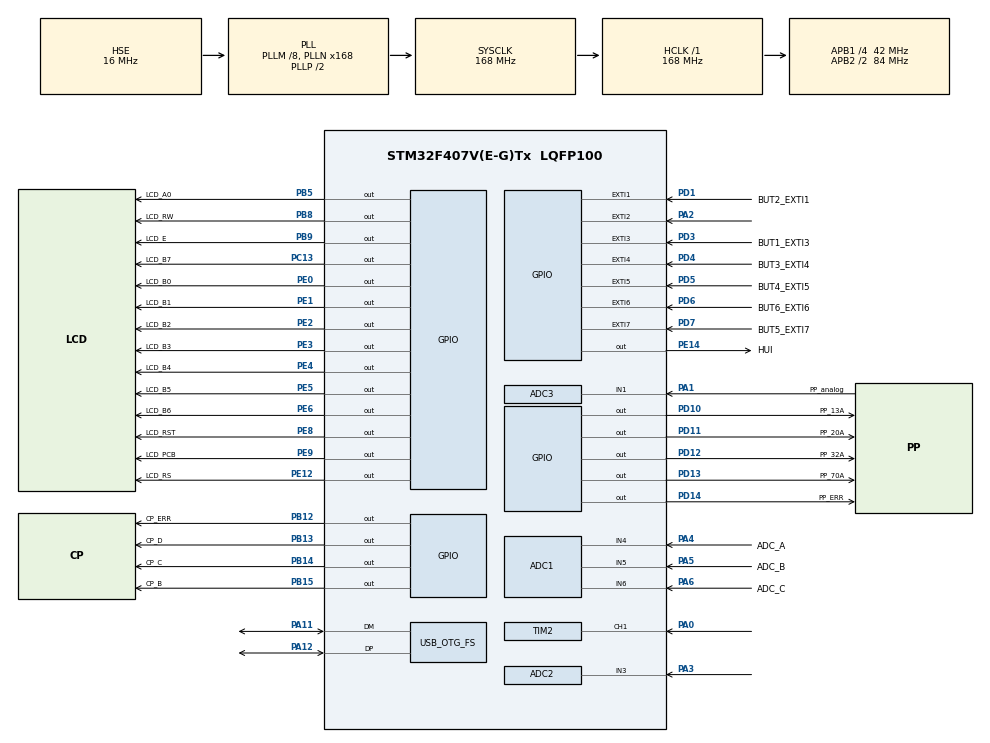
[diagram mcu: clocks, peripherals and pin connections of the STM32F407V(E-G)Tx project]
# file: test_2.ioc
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ADC1.Channel-0\#ChannelRegularConversion=ADC_CHANNEL_4
ADC1.NbrOfConversionFlag=1
ADC1.Rank-0\#ChannelRegularConversion=1
ADC1.SamplingTime-0\#ChannelRegularConversion=ADC_SAMPLETIME_3CYCLES
ADC1.master=1
ADC2.Channel-2\#ChannelRegularConversion=ADC_CHANNEL_3
ADC2.NbrOfConversionFlag=1
ADC2.Rank-2\#ChannelRegularConversion=1
ADC2.SamplingTime-2\#ChannelRegularConversion=ADC_SAMPLETIME_3CYCLES
ADC3.Channel-0\#ChannelRegularConversion=ADC_CHANNEL_1
ADC3.NbrOfConversionFlag=1
ADC3.Rank-0\#ChannelRegularConversion=1
ADC3.SamplingTime-0\#ChannelRegularConversion=ADC_SAMPLETIME_3CYCLES
Mcu.Family=STM32F4
Mcu.Name=STM32F407V(E-G)Tx
Mcu.Package=LQFP100
NVIC.ADC_IRQn=true\:0\:0\:false\:false\:true\:true\:true\:true
NVIC.EXTI1_IRQn=true\:0\:0\:false\:false\:true\:true\:true\:true
NVIC.EXTI2_IRQn=true\:0\:0\:false\:false\:true\:true\:true\:true
NVIC.EXTI3_IRQn=true\:0\:0\:false\:false\:true\:true\:true\:true
NVIC.EXTI4_IRQn=true\:0\:0\:false\:false\:true\:true\:true\:true
NVIC.EXTI9_5_IRQn=true\:0\:0\:false\:false\:true\:true\:true\:true
NVIC.FLASH_IRQn=true\:0\:0\:false\:false\:true\:true\:true\:true
NVIC.FPU_IRQn=true\:0\:0\:false\:false\:true\:true\:false\:true
NVIC.OTG_FS_IRQn=true\:0\:0\:false\:false\:true\:false\:true\:true
NVIC.PVD_IRQn=true\:0\:0\:false\:false\:true\:true\:true\:true
NVIC.PriorityGroup=NVIC_PRIORITYGROUP_4
NVIC.RCC_IRQn=true\:0\:0\:false\:false\:true\:true\:false\:true
NVIC.TIM2_IRQn=true\:0\:0\:false\:false\:true\:true\:true\:true
PA0-WKUP.Signal=S_TIM2_CH1_ETR
PA1.GPIO_Label=PP_analog
PA1.Signal=ADCx_IN1
PA11.Mode=Device_Only
PA11.Signal=USB_OTG_FS_DM
PA12.Mode=Device_Only
PA12.Signal=USB_OTG_FS_DP
PA13.Mode=Serial_Wire
PA13.Signal=SYS_JTMS-SWDIO
PA14.Mode=Serial_Wire
PA14.Signal=SYS_JTCK-SWCLK
PA2.GPIO_ModeDefaultEXTI=GPIO_MODE_IT_FALLING
PA2.GPIO_PuPd=GPIO_NOPULL
PA2.Signal=GPXTI2
PA3.Signal=ADCx_IN3
PA4.GPIO_Label=ADC_A
PA4.Signal=ADCx_IN4
PA5.GPIO_Label=ADC_B
PA5.Signal=ADCx_IN5
PA6.GPIO_Label=ADC_C
PA6.Signal=ADCx_IN6
PB12.GPIO_Label=CP_ERR
PB12.GPIO_ModeDefaultOutputPP=GPIO_MODE_OUTPUT_PP
PB12.GPIO_PuPd=GPIO_NOPULL
PB12.GPIO_Speed=GPIO_SPEED_FREQ_HIGH
PB12.PinState=GPIO_PIN_SET
PB12.Signal=GPIO_Output
PB13.GPIO_Label=CP_D
PB13.GPIO_ModeDefaultOutputPP=GPIO_MODE_OUTPUT_PP
PB13.GPIO_PuPd=GPIO_NOPULL
PB13.GPIO_Speed=GPIO_SPEED_FREQ_HIGH
PB13.PinState=GPIO_PIN_SET
PB13.Signal=GPIO_Output
PB14.GPIO_Label=CP_C
PB14.GPIO_ModeDefaultOutputPP=GPIO_MODE_OUTPUT_PP
PB14.GPIO_PuPd=GPIO_NOPULL
PB14.GPIO_Speed=GPIO_SPEED_FREQ_HIGH
PB14.PinState=GPIO_PIN_SET
PB14.Signal=GPIO_Output
PB15.GPIO_Label=CP_B
PB15.GPIO_ModeDefaultOutputPP=GPIO_MODE_OUTPUT_PP
PB15.GPIO_PuPd=GPIO_NOPULL
PB15.GPIO_Speed=GPIO_SPEED_FREQ_HIGH
PB15.PinState=GPIO_PIN_SET
PB15.Signal=GPIO_Output
PB5.GPIO_Label=LCD_A0
PB5.GPIO_ModeDefaultOutputPP=GPIO_MODE_OUTPUT_PP
PB5.GPIO_PuPd=GPIO_PULLDOWN
PB5.GPIO_Speed=GPIO_SPEED_FREQ_LOW
PB5.PinState=GPIO_PIN_RESET
PB5.Signal=GPIO_Output
PB8.GPIO_Label=LCD_RW
PB8.GPIO_ModeDefaultOutputPP=GPIO_MODE_OUTPUT_PP
PB8.GPIO_PuPd=GPIO_PULLDOWN
PB8.GPIO_Speed=GPIO_SPEED_FREQ_LOW
PB8.PinState=GPIO_PIN_RESET
PB8.Signal=GPIO_Output
PB9.GPIO_Label=LCD_E
PB9.GPIO_ModeDefaultOutputPP=GPIO_MODE_OUTPUT_PP
PB9.GPIO_PuPd=GPIO_PULLDOWN
PB9.GPIO_Speed=GPIO_SPEED_FREQ_LOW
PB9.PinState=GPIO_PIN_RESET
PB9.Signal=GPIO_Output
PC13-ANTI_TAMP.GPIO_Label=LCD_B7
PC13-ANTI_TAMP.GPIO_PuPd=GPIO_PULLDOWN
PC13-ANTI_TAMP.GPIO_Speed=GPIO_SPEED_FREQ_LOW
PC13-ANTI_TAMP.Signal=GPIO_Output
PD1.GPIO_Label=BUT2_EXTI1
PD1.GPIO_ModeDefaultEXTI=GPIO_MODE_IT_FALLING
PD1.GPIO_PuPd=GPIO_PULLUP
PD1.Signal=GPXTI1
PD10.GPIO_Label=PP_13A
PD10.GPIO_ModeDefaultOutputPP=GPIO_MODE_OUTPUT_OD
PD10.GPIO_PuPd=GPIO_NOPULL
PD10.GPIO_Speed=GPIO_SPEED_FREQ_HIGH
PD10.PinState=GPIO_PIN_SET
PD10.Signal=GPIO_Output
PD11.GPIO_Label=PP_20A
PD11.GPIO_ModeDefaultOutputPP=GPIO_MODE_OUTPUT_OD
PD11.GPIO_PuPd=GPIO_NOPULL
PD11.GPIO_Speed=GPIO_SPEED_FREQ_HIGH
PD11.PinState=GPIO_PIN_SET
PD11.Signal=GPIO_Output
PD12.GPIO_Label=PP_32A
PD12.GPIO_ModeDefaultOutputPP=GPIO_MODE_OUTPUT_OD
PD12.GPIO_PuPd=GPIO_NOPULL
PD12.GPIO_Speed=GPIO_SPEED_FREQ_HIGH
PD12.PinState=GPIO_PIN_SET
PD12.Signal=GPIO_Output
PD13.GPIO_Label=PP_70A
PD13.GPIO_ModeDefaultOutputPP=GPIO_MODE_OUTPUT_OD
PD13.GPIO_PuPd=GPIO_NOPULL
PD13.GPIO_Speed=GPIO_SPEED_FREQ_HIGH
PD13.PinState=GPIO_PIN_SET
PD13.Signal=GPIO_Output
PD14.GPIO_Label=PP_ERR
PD14.GPIO_ModeDefaultOutputPP=GPIO_MODE_OUTPUT_OD
PD14.GPIO_PuPd=GPIO_NOPULL
PD14.GPIO_Speed=GPIO_SPEED_FREQ_HIGH
PD14.PinState=GPIO_PIN_SET
PD14.Signal=GPIO_Output
PD3.GPIO_Label=BUT1_EXTI3
PD3.GPIO_ModeDefaultEXTI=GPIO_MODE_IT_FALLING
PD3.GPIO_PuPd=GPIO_PULLUP
PD3.Signal=GPXTI3
PD4.GPIO_Label=BUT3_EXTI4
PD4.GPIO_ModeDefaultEXTI=GPIO_MODE_IT_FALLING
PD4.GPIO_PuPd=GPIO_PULLUP
PD4.Signal=GPXTI4
PD5.GPIO_Label=BUT4_EXTI5
PD5.GPIO_ModeDefaultEXTI=GPIO_MODE_IT_FALLING
PD5.GPIO_PuPd=GPIO_PULLUP
PD5.Signal=GPXTI5
PD6.GPIO_Label=BUT6_EXTI6
PD6.GPIO_ModeDefaultEXTI=GPIO_MODE_IT_FALLING
PD6.GPIO_PuPd=GPIO_PULLUP
PD6.Signal=GPXTI6
PD7.GPIO_Label=BUT5_EXTI7
PD7.GPIO_ModeDefaultEXTI=GPIO_MODE_IT_FALLING
PD7.GPIO_PuPd=GPIO_PULLUP
PD7.Signal=GPXTI7
PE0.GPIO_Label=LCD_B0
PE0.GPIO_ModeDefaultOutputPP=GPIO_MODE_OUTPUT_PP
PE0.GPIO_PuPd=GPIO_PULLDOWN
PE0.GPIO_Speed=GPIO_SPEED_FREQ_LOW
PE0.PinState=GPIO_PIN_RESET
PE0.Signal=GPIO_Output
PE1.GPIO_Label=LCD_B1
PE1.GPIO_ModeDefaultOutputPP=GPIO_MODE_OUTPUT_PP
PE1.GPIO_PuPd=GPIO_PULLDOWN
PE1.GPIO_Speed=GPIO_SPEED_FREQ_LOW
PE1.PinState=GPIO_PIN_RESET
PE1.Signal=GPIO_Output
PE12.GPIO_Label=LCD_RS
PE12.GPIO_ModeDefaultOutputPP=GPIO_MODE_OUTPUT_PP
PE12.GPIO_PuPd=GPIO_PULLDOWN
PE12.GPIO_Speed=GPIO_SPEED_FREQ_LOW
PE12.PinState=GPIO_PIN_RESET
PE12.Signal=GPIO_Output
PE14.GPIO_Label=HUI
PE14.GPIO_ModeDefaultOutputPP=GPIO_MODE_OUTPUT_PP
PE14.GPIO_PuPd=GPIO_PULLUP
PE14.GPIO_Speed=GPIO_SPEED_FREQ_MEDIUM
PE14.PinState=GPIO_PIN_RESET
PE14.Signal=GPIO_Output
PE2.GPIO_Label=LCD_B2
PE2.GPIO_ModeDefaultOutputPP=GPIO_MODE_OUTPUT_PP
PE2.GPIO_PuPd=GPIO_PULLDOWN
PE2.GPIO_Speed=GPIO_SPEED_FREQ_LOW
PE2.PinState=GPIO_PIN_RESET
PE2.Signal=GPIO_Output
PE3.GPIO_Label=LCD_B3
PE3.GPIO_ModeDefaultOutputPP=GPIO_MODE_OUTPUT_PP
PE3.GPIO_PuPd=GPIO_PULLDOWN
PE3.GPIO_Speed=GPIO_SPEED_FREQ_LOW
PE3.PinState=GPIO_PIN_RESET
PE3.Signal=GPIO_Output
PE4.GPIO_Label=LCD_B4
PE4.GPIO_ModeDefaultOutputPP=GPIO_MODE_OUTPUT_PP
PE4.GPIO_PuPd=GPIO_PULLDOWN
PE4.GPIO_Speed=GPIO_SPEED_FREQ_LOW
PE4.PinState=GPIO_PIN_RESET
PE4.Signal=GPIO_Output
PE5.GPIO_Label=LCD_B5
PE5.GPIO_ModeDefaultOutputPP=GPIO_MODE_OUTPUT_PP
PE5.GPIO_PuPd=GPIO_PULLDOWN
PE5.GPIO_Speed=GPIO_SPEED_FREQ_LOW
PE5.PinState=GPIO_PIN_RESET
PE5.Signal=GPIO_Output
PE6.GPIO_Label=LCD_B6
PE6.GPIO_ModeDefaultOutputPP=GPIO_MODE_OUTPUT_PP
PE6.GPIO_PuPd=GPIO_PULLDOWN
PE6.GPIO_Speed=GPIO_SPEED_FREQ_LOW
PE6.PinState=GPIO_PIN_RESET
PE6.Signal=GPIO_Output
PE8.GPIO_Label=LCD_RST
PE8.GPIO_ModeDefaultOutputPP=GPIO_MODE_OUTPUT_PP
PE8.GPIO_PuPd=GPIO_PULLDOWN
PE8.GPIO_Speed=GPIO_SPEED_FREQ_LOW
PE8.PinState=GPIO_PIN_RESET
PE8.Signal=GPIO_Output
PE9.GPIO_Label=LCD_PCB
PE9.GPIO_ModeDefaultOutputPP=GPIO_MODE_OUTPUT_PP
PE9.GPIO_PuPd=GPIO_PULLDOWN
PE9.GPIO_Speed=GPIO_SPEED_FREQ_LOW
PE9.PinState=GPIO_PIN_RESET
PE9.Signal=GPIO_Output
PH0-OSC_IN.Mode=HSE-External-Oscillator
PH0-OSC_IN.Signal=RCC_OSC_IN
PH1-OSC_OUT.Mode=HSE-External-Oscillator
PH1-OSC_OUT.Signal=RCC_OSC_OUT
ProjectManager.HeapSize=0x200
ProjectManager.StackSize=0x400
ProjectManager.TargetToolchain=STM32CubeIDE
RCC.48MHZClocksFreq_Value=48000000
RCC.AHBFreq_Value=168000000
RCC.APB1CLKDivider=RCC_HCLK_DIV4
RCC.APB1Freq_Value=42000000
RCC.APB1TimFreq_Value=84000000
RCC.APB2CLKDivider=RCC_HCLK_DIV2
RCC.APB2Freq_Value=84000000
RCC.APB2TimFreq_Value=168000000
RCC.CortexFreq_Value=168000000
RCC.HCLKFreq_Value=168000000
RCC.HSE_VALUE=16000000
RCC.HSI_VALUE=16000000
RCC.LSE_VALUE=32768
RCC.PLLM=8
RCC.PLLN=168
RCC.PLLQ=7
RCC.SYSCLKFreq_VALUE=168000000
RCC.SYSCLKSource=RCC_SYSCLKSOURCE_PLLCLK
RCC.VCOOutputFreq_Value=336000000
SH.ADCx_IN1.0=ADC3_IN1,IN1
SH.ADCx_IN3.0=ADC2_IN3,IN3
SH.ADCx_IN4.0=ADC1_IN4,IN4
SH.ADCx_IN5.0=ADC1_IN5,IN5
SH.ADCx_IN6.0=ADC1_IN6,IN6
SH.S_TIM2_CH1_ETR.0=TIM2_CH1,PWM_Input_1
USB_DEVICE.CLASS_NAME_FS=CDC
USB_DEVICE.VirtualMode-CDC_FS=Cdc
USB_DEVICE.VirtualModeFS=Cdc_FS
USB_OTG_FS.VirtualMode=Device_Only
VP_TIM2_VS_ClockSourceINT.Mode=Internal
VP_USB_DEVICE_VS_USB_DEVICE_CDC_FS.Mode=CDC_FS
board=custom

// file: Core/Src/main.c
/* USER CODE BEGIN Header */
/**
  ******************************************************************************
  * @file           : main.c
  * @brief          : Main program body
  ******************************************************************************
  * @attention
  *
  * Copyright (c) 2022 STMicroelectronics.
  * All rights reserved.
  *
  * This software is licensed under terms that can be found in the LICENSE file
  * in the root directory of this software component.
  * If no LICENSE file comes with this software, it is provided AS-IS.
  *
  ******************************************************************************
  */
/* USER CODE END Header */
#include "main.h"
#include "usb_device.h"

/* USER CODE BEGIN Includes */
#include "lcd.h"
//#include "math.h"
/* USER CODE END Includes */

ADC_HandleTypeDef hadc1;
ADC_HandleTypeDef hadc2;
ADC_HandleTypeDef hadc3;

TIM_HandleTypeDef htim2;

void SystemClock_Config(void);
static void MX_GPIO_Init(void);
static void MX_ADC1_Init(void);
static void MX_TIM2_Init(void);
static void MX_ADC3_Init(void);
static void MX_ADC2_Init(void);

/* USER CODE BEGIN 0 */

void set_status_A(void)
{
	HAL_GPIO_WritePin(GPIOB, GPIO_PIN_12, GPIO_PIN_RESET);
	HAL_GPIO_WritePin(GPIOB, GPIO_PIN_13, GPIO_PIN_RESET);
	HAL_GPIO_WritePin(GPIOB, GPIO_PIN_14, GPIO_PIN_RESET);
	HAL_GPIO_WritePin(GPIOB, GPIO_PIN_15, GPIO_PIN_RESET);
}
void set_status_B(void)
{
	HAL_GPIO_WritePin(GPIOB, GPIO_PIN_12, GPIO_PIN_RESET);
	HAL_GPIO_WritePin(GPIOB, GPIO_PIN_13, GPIO_PIN_RESET);
	HAL_GPIO_WritePin(GPIOB, GPIO_PIN_14, GPIO_PIN_RESET);
	HAL_GPIO_WritePin(GPIOB, GPIO_PIN_15, GPIO_PIN_SET);
}
void set_status_C(void)
{
	HAL_GPIO_WritePin(GPIOB, GPIO_PIN_12, GPIO_PIN_RESET);
	HAL_GPIO_WritePin(GPIOB, GPIO_PIN_13, GPIO_PIN_RESET);
	HAL_GPIO_WritePin(GPIOB, GPIO_PIN_14, GPIO_PIN_SET);
	HAL_GPIO_WritePin(GPIOB, GPIO_PIN_15, GPIO_PIN_RESET);
}
void set_status_D(void)
{
	HAL_GPIO_WritePin(GPIOB, GPIO_PIN_12, GPIO_PIN_RESET);
	HAL_GPIO_WritePin(GPIOB, GPIO_PIN_13, GPIO_PIN_SET);
	HAL_GPIO_WritePin(GPIOB, GPIO_PIN_14, GPIO_PIN_RESET);
	HAL_GPIO_WritePin(GPIOB, GPIO_PIN_15, GPIO_PIN_RESET);
}
void set_status_E(void)
{
	HAL_GPIO_WritePin(GPIOB, GPIO_PIN_12, GPIO_PIN_SET);
	HAL_GPIO_WritePin(GPIOB, GPIO_PIN_13, GPIO_PIN_RESET);
	HAL_GPIO_WritePin(GPIOB, GPIO_PIN_14, GPIO_PIN_RESET);
	HAL_GPIO_WritePin(GPIOB, GPIO_PIN_15, GPIO_PIN_RESET);
}

uint8_t str_tx[100];
void hello_world(void)
{
	  set_status_A();
	  lcd_initialization();
	  HAL_Delay(200);

	  lcd_set_cursor(0, 0);
	  sprintf(str_tx, "������ �����������");
	  lcd_draw_text(str_tx);
	  lcd_set_cursor(0, 1);
	  sprintf(str_tx, "��� ���������");
	  lcd_draw_text(str_tx);
	  lcd_set_cursor(0, 2);
	  sprintf(str_tx, "����� ����������");
	  lcd_draw_text(str_tx);
	  lcd_set_cursor(0, 3);
	  sprintf(str_tx, "����������");
	  lcd_draw_text(str_tx);
	  HAL_Delay(1000);
}

uint32_t PP_adc;
float PP_value;
uint32_t cable_current;
void read_PP(void)
{
		HAL_ADC_Start(&hadc3);
		HAL_ADC_PollForConversion(&hadc3,100);
		PP_adc = (uint32_t) HAL_ADC_GetValue(&hadc3);
		HAL_ADC_Stop(&hadc3);
		PP_value = (float)PP_adc*3.3/4096.0;
		/*
		 * 50 - 150 om = 70A
		 * 150 - 330 om = 32A
		 * 330 - 1000 om = 20A
		 * 1000 - 2700 om = 13A
		 */

		if(     PP_value > 0.07 && PP_value < 0.21){
			cable_current = 70;}
		else if(PP_value > 0.21 && PP_value < 0.43){
			cable_current = 32;}
		else if(PP_value > 0.43 && PP_value < 1.0){
			cable_current = 20;}
		else if(PP_value > 1.0 && PP_value < 1.81){
			cable_current = 13;}
		else if(PP_value <= 0.07 || PP_value >= 1.81){
			cable_current = 0;}
}

const uint32_t CP_adc_arr = 500;
uint32_t CP_adc[500];
float CP_val_MAX = 0;

void read_CP(void)
{
 	 HAL_ADC_ConfigChannel(&hadc2, ADC_CHANNEL_3);
 	 for(uint32_t i = 0; i < CP_adc_arr; i++)
 	 {
		HAL_ADC_Start(&hadc2);
		HAL_ADC_PollForConversion(&hadc2,100);
		CP_adc[i] = (uint32_t) HAL_ADC_GetValue(&hadc2);
		HAL_ADC_Stop(&hadc2);
 	 }
 	 HAL_ADC_ConfigChannel(&hadc1, ADC_CHANNEL_4);
 	 CP_val_MAX = 0;
 	 for(uint32_t i = 0; i < CP_adc_arr; i++)
 	 {
 		 if(CP_adc[i] > CP_val_MAX)
 		 {
 			CP_val_MAX = (float)CP_adc[i];
 		 }
 	 }
 	CP_val_MAX = CP_val_MAX*0.004914 + 0.15;
}

const uint32_t adc_arr = 2000;
uint32_t adc_a[2000];
uint32_t adc_b[2000];
uint32_t adc_c[2000];
uint32_t adc_max_a;
uint32_t adc_max_b;
uint32_t adc_max_c;
float adc_result_a;
float adc_result_b;
float adc_result_c;

void read_phase_A(void)
{
	HAL_TIM_IC_Stop_IT(&htim2, TIM_CHANNEL_1);   // main channel
	HAL_TIM_IC_Stop(&htim2, TIM_CHANNEL_2);

	ADC_ChannelConfTypeDef sConfig = {0};
	sConfig.Channel = ADC_CHANNEL_4;
	sConfig.Rank = 1;
	sConfig.SamplingTime = ADC_SAMPLETIME_3CYCLES;
	if (HAL_ADC_ConfigChannel(&hadc1, &sConfig) != HAL_OK)
	{
	Error_Handler();
	}

	HAL_ADC_ConfigChannel(&hadc1, ADC_CHANNEL_4);
	for(uint32_t i = 0; i < adc_arr; i++)
	{
		HAL_ADC_Start(&hadc1);
		HAL_ADC_PollForConversion(&hadc1,100);
		adc_a[i] = (uint32_t) HAL_ADC_GetValue(&hadc1);
		HAL_ADC_Stop(&hadc1);
	}
	adc_max_a = 0;
	for(uint32_t i = 0; i < adc_arr; i++)
	{
		 if(adc_max_a < adc_a[i])
		 {
			 adc_max_a = adc_a[i];
		 }
	}
	adc_result_a = ((float)adc_max_a*3.3/4096.0-1.22662)*1358.88/sqrt(2);
	if(adc_result_a < 12.0)
	{
		adc_result_a = 0.0;
	}
	HAL_TIM_IC_Start_IT(&htim2, TIM_CHANNEL_1);   // main channel
	HAL_TIM_IC_Start(&htim2, TIM_CHANNEL_2);
}

void read_phase_B(void)
{

	HAL_TIM_IC_Stop_IT(&htim2, TIM_CHANNEL_1);   // main channel
	HAL_TIM_IC_Stop(&htim2, TIM_CHANNEL_2);

	ADC_ChannelConfTypeDef sConfig = {0};
	sConfig.Channel = ADC_CHANNEL_5;
	sConfig.Rank = 1;
	sConfig.SamplingTime = ADC_SAMPLETIME_3CYCLES;
	if (HAL_ADC_ConfigChannel(&hadc1, &sConfig) != HAL_OK)
	{
	Error_Handler();
	}

	//HAL_ADC_ConfigChannel(&hadc1, ADC_CHANNEL_5);
	for(uint32_t i = 0; i < adc_arr; i++)
	{
		HAL_ADC_Start(&hadc1);
		HAL_ADC_PollForConversion(&hadc1,100);
		adc_b[i] = (uint32_t) HAL_ADC_GetValue(&hadc1);
		HAL_ADC_Stop(&hadc1);
	}
	adc_max_b = 0;
	for(uint32_t i = 0; i < adc_arr; i++)
	{
		 if((float)adc_b[i] > adc_max_b)
		 {
			 adc_max_b = adc_b[i];
		 }
	}
	adc_result_b = ((float)adc_max_b*3.3/4096.0-1.22662)*1358.88/sqrt(2);
	if(adc_result_b < 12.0)
	{
		adc_result_b = 0.0;
	}
	HAL_TIM_IC_Start_IT(&htim2, TIM_CHANNEL_1);   // main channel
	HAL_TIM_IC_Start(&htim2, TIM_CHANNEL_2);
}

void read_phase_C(void)
{
	HAL_TIM_IC_Stop_IT(&htim2, TIM_CHANNEL_1);   // main channel
	HAL_TIM_IC_Stop(&htim2, TIM_CHANNEL_2);

	ADC_ChannelConfTypeDef sConfig = {0};
	sConfig.Channel = ADC_CHANNEL_6;
	sConfig.Rank = 1;
	sConfig.SamplingTime = ADC_SAMPLETIME_3CYCLES;
	if (HAL_ADC_ConfigChannel(&hadc1, &sConfig) != HAL_OK)
	{
	Error_Handler();
	}

	//HAL_ADC_ConfigChannel(&hadc1, ADC_CHANNEL_6);
	for(uint32_t i = 0; i < adc_arr; i++)
	{
		HAL_ADC_Start(&hadc1);
		HAL_ADC_PollForConversion(&hadc1,100);
		adc_c[i] = (uint32_t) HAL_ADC_GetValue(&hadc1);
		HAL_ADC_Stop(&hadc1);
	}
	adc_max_c = 0;
	for(uint32_t i = 0; i < adc_arr; i++)
	{
		 if((float)adc_c[i] > adc_max_c)
		 {
			 adc_max_c = adc_c[i];
		 }
	}
	adc_result_c = ((float)adc_max_c*3.3/4096.0-1.22662)*1358.88/sqrt(2);
	if(adc_result_c < 12.0)
	{
		adc_result_c = 0.0;
	}
	HAL_TIM_IC_Start_IT(&htim2, TIM_CHANNEL_1);   // main channel
	HAL_TIM_IC_Start(&htim2, TIM_CHANNEL_2);
}

uint32_t ICValue;
float Duty;
float Frequency;
uint32_t CP_Voltage = 0;

void HAL_TIM_IC_CaptureCallback(TIM_HandleTypeDef *htim)
{
	if (htim->Channel == HAL_TIM_ACTIVE_CHANNEL_1)  // If the interrupt is triggered by channel 1
	{
		// Read the IC value
		ICValue = HAL_TIM_ReadCapturedValue(htim, TIM_CHANNEL_1);

		if (ICValue != 0)
		{
			// calculate the Duty Cycle
			Duty = 100.0 - ((float)HAL_TIM_ReadCapturedValue(htim, TIM_CHANNEL_2) *100.0)/(float)ICValue;
			Frequency = 84000000.0/(float)ICValue;
		}
	}
}

uint8_t menu = 0;
uint8_t menu_hor = 0;
uint8_t menu_ver = 0;
char status = 'A';

void HAL_GPIO_EXTI_Callback(uint16_t GPIO_Pin)
{
   if(GPIO_Pin == GPIO_PIN_2)
   {

   }
//	gpio_1		gpio_7
//        gpio_4
//  gpio_3		gpio_6
//   	  gpio_5
//
   //__BUTTONS_____________________________________________
   if(GPIO_Pin == GPIO_PIN_1)
   {
//	   set_status_A();
//	   menu = 1;
//	   Frequency = 0;
//	   Duty = 0;
   }
   if(GPIO_Pin == GPIO_PIN_3)
   {
	  switch (menu_hor) {
		case 0:
			menu_hor = 1;
			break;
		case 1:
			menu_hor = 2;
			break;
		case 2:
			menu_hor = 0;
			break;
		default:
			break;
	  }
   }

   if(GPIO_Pin == GPIO_PIN_6)
   {
	  switch (menu_hor) {
		case 0:
			menu_hor = 2;
			break;
		case 1:
			menu_hor = 0;
			break;
		case 2:
			menu_hor = 1;
			break;
		default:
			break;
	  }
   }

   if(GPIO_Pin == GPIO_PIN_5)
   {
	  switch (menu_ver) {
		case 0:
			menu_ver = 1;
			break;
		case 1:
			menu_ver = 2;
			break;
		case 2:
			menu_ver = 3;
			break;
		case 3:
			menu_ver = 4;
			break;
		case 4:
			menu_ver = 0;
			break;
		default:
			break;
	  }
   }

   if(GPIO_Pin == GPIO_PIN_4)
   {
	  switch (menu_ver) {
		case 0:
			menu_ver = 4;
			break;
		case 1:
			menu_ver = 0;
			break;
		case 2:
			menu_ver = 1;
			break;
		case 3:
			menu_ver = 2;
			break;
		case 4:
			menu_ver = 3;
			break;
		default:
			break;
	  }
   }
   switch (menu_ver) {
  		case 0:
  			status = 'A';
  			set_status_A();
  			break;
  		case 1:
  			status = 'B';
  			set_status_B();
  			break;
  		case 2:
  			status = 'C';
  			set_status_C();
  			break;
  		case 3:
  			status = 'D';
  			set_status_D();
  			break;
  		case 4:
  			status = 'E';
  			set_status_E();
  			break;
  		default:
  			break;
  	  }
   if(GPIO_Pin == GPIO_PIN_7)
   {
//	   HAL_TIM_IC_Stop_IT(&htim2, TIM_CHANNEL_1);   // main channel
//	   HAL_TIM_IC_Stop(&htim2, TIM_CHANNEL_2);
//	   menu = 7;
   }

   //______________________________________________________
}

uint32_t station_current;
void duty_read()
{
	if(     Duty < 3)
		station_current = 0;
	else if(Duty >=3 && Duty < 7)
		station_current = 999;
	else if(Duty >=7 && Duty < 8)
		station_current = 0;
	else if(Duty >=8 && Duty < 10)
		station_current = 6;
	else if(Duty >=10 && Duty < 85)
		station_current = Duty * 0.6;
	else if(Duty >=85 && Duty < 96)
		station_current = (Duty-64)*2.5;
	else if(Duty >=96 && Duty < 97)
		station_current = 80;
	else if(Duty >=97 && Duty < 100)
		station_current = 0;
}

void lcd_print_info()
{
	if(menu_hor == 0)
	{
		Frequency = 0;
		Duty = 0;
		read_PP();
		read_CP();
		read_phase_A();
		read_phase_B();
		read_phase_C();
		duty_read();
		lcd_clear_display();
		lcd_set_cursor(0, 0);
		sprintf(str_tx, "������ = %c ", status);
		lcd_draw_text(str_tx);
		lcd_set_cursor(0, 1);
		if(cable_current != 0)
			sprintf(str_tx, "���.���. = %u �   ", cable_current);
		else
			sprintf(str_tx, "���.���. = ������", cable_current);
		lcd_draw_text(str_tx);
		lcd_set_cursor(0, 2);
		if(station_current == 0 && cable_current == 0)
			sprintf(str_tx, "������ �������     ", Duty);
		else if(station_current == 999)
			sprintf(str_tx, "��. �����. ���.!   ");
		else
			sprintf(str_tx, "���.��. = %u �", station_current);
		lcd_draw_text(str_tx);
		lcd_set_cursor(0, 3);
		if((adc_result_a > adc_result_b - 44) && (adc_result_a < adc_result_b + 44) && (adc_result_a > adc_result_c - 44) && (adc_result_a < adc_result_c + 44) && (adc_result_b > adc_result_c - 44) && (adc_result_b < adc_result_c + 44))
			sprintf(str_tx, "����. ��� = ��    ");
		else
			sprintf(str_tx, "����. ��� = ������");
		lcd_draw_text(str_tx);
	}

	if(menu_hor == 1)
	{
		 Frequency = 0;
		 Duty = 0;
		 read_CP();
	  	 lcd_clear_display();
		 lcd_set_cursor(0, 0);
		 sprintf(str_tx, "������ = %c ", status);
		 lcd_draw_text(str_tx);
		 lcd_set_cursor(0, 1);
		 sprintf(str_tx, "��. = %.2f ��  ", Frequency);
		 lcd_draw_text(str_tx);
		 lcd_set_cursor(0, 2);
		 sprintf(str_tx, "��. = %.2f ����.   ", Duty);
		 lcd_draw_text(str_tx);
		 lcd_set_cursor(0, 3);
		 sprintf(str_tx, "��. = %.2f �   ", CP_val_MAX);
		 lcd_draw_text(str_tx);
	}
	if(menu_hor == 2)
	{
		 read_phase_A();
		 read_phase_B();
		 read_phase_C();
		 HAL_Delay(100);
	  	 lcd_clear_display();
		 lcd_set_cursor(0, 0);
		 sprintf(str_tx, "������ = %c", status);
		 lcd_draw_text(str_tx);
		 lcd_set_cursor(0, 1);
		 //*(3.3/4096.0-1.22662)*1358.88
		 sprintf(str_tx, "���� A = %.1f �   ", adc_result_a);
		 lcd_draw_text(str_tx);
		 lcd_set_cursor(0, 2);
		 sprintf(str_tx, "���� B = %.1f �   ", adc_result_b);
		 lcd_draw_text(str_tx);
		 lcd_set_cursor(0, 3);
		 sprintf(str_tx, "���� C = %.1f �   ", adc_result_c);
		 lcd_draw_text(str_tx);
	}
}

/* USER CODE END 0 */

int main(void)
{

  /* MCU Configuration--------------------------------------------------------*/

  /* Reset of all peripherals, Initializes the Flash interface and the Systick. */
  HAL_Init();

  /* Configure the system clock */
  SystemClock_Config();

  /* Initialize all configured peripherals */
  MX_GPIO_Init();
  MX_ADC1_Init();
  MX_TIM2_Init();
  MX_USB_DEVICE_Init();
  MX_ADC3_Init();
  MX_ADC2_Init();
  /* USER CODE BEGIN 2 */

  HAL_TIM_IC_Start_IT(&htim2, TIM_CHANNEL_1);   // main channel
  HAL_TIM_IC_Start(&htim2, TIM_CHANNEL_2);

  //инициализация экрана

//  uint32_t pretick = 0;
//  uint32_t posttick = 0;
  hello_world();

  /* USER CODE END 2 */

  /* Infinite loop */
  /* USER CODE BEGIN WHILE */
  while (1)
  {
	  lcd_print_info();
	  HAL_Delay(200);
//	  uint32_t ICValue;
//	  float Duty;
//	  float Frequency;

//		 lcd_draw_text(str_tx);
	    sprintf(str_tx, "_____________START____________________ \r\n");
	    CDC_Transmit_FS((unsigned char*)str_tx, strlen(str_tx));

		for(uint16_t i = 0; i < adc_arr; i++)
		{
			sprintf(str_tx, "%.1f \t %.1f \t %.1f  \r\n", ((float)adc_a[i]*3.3/4096.0-1.22662)*1358.88, ((float)adc_b[i]*3.3/4096.0-1.22662)*1358.88, ((float)adc_c[i]*3.3/4096.0-1.22662)*1358.88);
			CDC_Transmit_FS((unsigned char*)str_tx, strlen(str_tx));
		}
		sprintf(str_tx, " \r\n");
		CDC_Transmit_FS((unsigned char*)str_tx, strlen(str_tx));

//		sprintf(str_tx, "%.1f \r\n", ((float)adc_max_a*3.3/4096.0-1.22662)*1358.88);
//		CDC_Transmit_FS((unsigned char*)str_tx, strlen(str_tx));
//		sprintf(str_tx, "_____________STOP______________________\r\n\r\n");
//		CDC_Transmit_FS((unsigned char*)str_tx, strlen(str_tx));
//		HAL_Delay(100);
    /* USER CODE END WHILE */

    /* USER CODE BEGIN 3 */
//	  HAL_GPIO_TogglePin(GPIOB, GPIO_PIN_12);
//	  HAL_Delay(2000);
  }
  /* USER CODE END 3 */
}

void SystemClock_Config(void)
{
  RCC_OscInitTypeDef RCC_OscInitStruct = {0};
  RCC_ClkInitTypeDef RCC_ClkInitStruct = {0};

  /** Configure the main internal regulator output voltage
  */
  __HAL_RCC_PWR_CLK_ENABLE();
  __HAL_PWR_VOLTAGESCALING_CONFIG(PWR_REGULATOR_VOLTAGE_SCALE1);

  /** Initializes the RCC Oscillators according to the specified parameters
  * in the RCC_OscInitTypeDef structure.
  */
  RCC_OscInitStruct.OscillatorType = RCC_OSCILLATORTYPE_HSE;
  RCC_OscInitStruct.HSEState = RCC_HSE_ON;
  RCC_OscInitStruct.PLL.PLLState = RCC_PLL_ON;
  RCC_OscInitStruct.PLL.PLLSource = RCC_PLLSOURCE_HSE;
  RCC_OscInitStruct.PLL.PLLM = 8;
  RCC_OscInitStruct.PLL.PLLN = 168;
  RCC_OscInitStruct.PLL.PLLP = RCC_PLLP_DIV2;
  RCC_OscInitStruct.PLL.PLLQ = 7;
  if (HAL_RCC_OscConfig(&RCC_OscInitStruct) != HAL_OK)
  {
    Error_Handler();
  }

  /** Initializes the CPU, AHB and APB buses clocks
  */
  RCC_ClkInitStruct.ClockType = RCC_CLOCKTYPE_HCLK|RCC_CLOCKTYPE_SYSCLK
                              |RCC_CLOCKTYPE_PCLK1|RCC_CLOCKTYPE_PCLK2;
  RCC_ClkInitStruct.SYSCLKSource = RCC_SYSCLKSOURCE_PLLCLK;
  RCC_ClkInitStruct.AHBCLKDivider = RCC_SYSCLK_DIV1;
  RCC_ClkInitStruct.APB1CLKDivider = RCC_HCLK_DIV4;
  RCC_ClkInitStruct.APB2CLKDivider = RCC_HCLK_DIV2;

  if (HAL_RCC_ClockConfig(&RCC_ClkInitStruct, FLASH_LATENCY_5) != HAL_OK)
  {
    Error_Handler();
  }
}

static void MX_ADC1_Init(void)
{

  ADC_ChannelConfTypeDef sConfig = {0};

  /** Configure the global features of the ADC (Clock, Resolution, Data Alignment and number of conversion)
  */
  hadc1.Instance = ADC1;
  hadc1.Init.ClockPrescaler = ADC_CLOCK_SYNC_PCLK_DIV4;
  hadc1.Init.Resolution = ADC_RESOLUTION_12B;
  hadc1.Init.ScanConvMode = DISABLE;
  hadc1.Init.ContinuousConvMode = DISABLE;
  hadc1.Init.DiscontinuousConvMode = DISABLE;
  hadc1.Init.ExternalTrigConvEdge = ADC_EXTERNALTRIGCONVEDGE_NONE;
  hadc1.Init.ExternalTrigConv = ADC_SOFTWARE_START;
  hadc1.Init.DataAlign = ADC_DATAALIGN_RIGHT;
  hadc1.Init.NbrOfConversion = 1;
  hadc1.Init.DMAContinuousRequests = DISABLE;
  hadc1.Init.EOCSelection = ADC_EOC_SINGLE_CONV;
  if (HAL_ADC_Init(&hadc1) != HAL_OK)
  {
    Error_Handler();
  }

  /** Configure for the selected ADC regular channel its corresponding rank in the sequencer and its sample time.
  */
  sConfig.Channel = ADC_CHANNEL_4;
  sConfig.Rank = 1;
  sConfig.SamplingTime = ADC_SAMPLETIME_3CYCLES;
  if (HAL_ADC_ConfigChannel(&hadc1, &sConfig) != HAL_OK)
  {
    Error_Handler();
  }

}

static void MX_ADC2_Init(void)
{

  ADC_ChannelConfTypeDef sConfig = {0};

  /** Configure the global features of the ADC (Clock, Resolution, Data Alignment and number of conversion)
  */
  hadc2.Instance = ADC2;
  hadc2.Init.ClockPrescaler = ADC_CLOCK_SYNC_PCLK_DIV4;
  hadc2.Init.Resolution = ADC_RESOLUTION_12B;
  hadc2.Init.ScanConvMode = DISABLE;
  hadc2.Init.ContinuousConvMode = DISABLE;
  hadc2.Init.DiscontinuousConvMode = DISABLE;
  hadc2.Init.ExternalTrigConvEdge = ADC_EXTERNALTRIGCONVEDGE_NONE;
  hadc2.Init.ExternalTrigConv = ADC_SOFTWARE_START;
  hadc2.Init.DataAlign = ADC_DATAALIGN_RIGHT;
  hadc2.Init.NbrOfConversion = 1;
  hadc2.Init.DMAContinuousRequests = DISABLE;
  hadc2.Init.EOCSelection = ADC_EOC_SINGLE_CONV;
  if (HAL_ADC_Init(&hadc2) != HAL_OK)
  {
    Error_Handler();
  }

  /** Configure for the selected ADC regular channel its corresponding rank in the sequencer and its sample time.
  */
  sConfig.Channel = ADC_CHANNEL_3;
  sConfig.Rank = 1;
  sConfig.SamplingTime = ADC_SAMPLETIME_3CYCLES;
  if (HAL_ADC_ConfigChannel(&hadc2, &sConfig) != HAL_OK)
  {
    Error_Handler();
  }

}

static void MX_ADC3_Init(void)
{

  ADC_ChannelConfTypeDef sConfig = {0};

  /** Configure the global features of the ADC (Clock, Resolution, Data Alignment and number of conversion)
  */
  hadc3.Instance = ADC3;
  hadc3.Init.ClockPrescaler = ADC_CLOCK_SYNC_PCLK_DIV4;
  hadc3.Init.Resolution = ADC_RESOLUTION_12B;
  hadc3.Init.ScanConvMode = DISABLE;
  hadc3.Init.ContinuousConvMode = DISABLE;
  hadc3.Init.DiscontinuousConvMode = DISABLE;
  hadc3.Init.ExternalTrigConvEdge = ADC_EXTERNALTRIGCONVEDGE_NONE;
  hadc3.Init.ExternalTrigConv = ADC_SOFTWARE_START;
  hadc3.Init.DataAlign = ADC_DATAALIGN_RIGHT;
  hadc3.Init.NbrOfConversion = 1;
  hadc3.Init.DMAContinuousRequests = DISABLE;
  hadc3.Init.EOCSelection = ADC_EOC_SINGLE_CONV;
  if (HAL_ADC_Init(&hadc3) != HAL_OK)
  {
    Error_Handler();
  }

  /** Configure for the selected ADC regular channel its corresponding rank in the sequencer and its sample time.
  */
  sConfig.Channel = ADC_CHANNEL_1;
  sConfig.Rank = 1;
  sConfig.SamplingTime = ADC_SAMPLETIME_3CYCLES;
  if (HAL_ADC_ConfigChannel(&hadc3, &sConfig) != HAL_OK)
  {
    Error_Handler();
  }

}

static void MX_TIM2_Init(void)
{

  TIM_ClockConfigTypeDef sClockSourceConfig = {0};
  TIM_SlaveConfigTypeDef sSlaveConfig = {0};
  TIM_IC_InitTypeDef sConfigIC = {0};
  TIM_MasterConfigTypeDef sMasterConfig = {0};

  htim2.Instance = TIM2;
  htim2.Init.Prescaler = 0;
  htim2.Init.CounterMode = TIM_COUNTERMODE_UP;
  htim2.Init.Period = 4294967295;
  htim2.Init.ClockDivision = TIM_CLOCKDIVISION_DIV1;
  htim2.Init.AutoReloadPreload = TIM_AUTORELOAD_PRELOAD_DISABLE;
  if (HAL_TIM_Base_Init(&htim2) != HAL_OK)
  {
    Error_Handler();
  }
  sClockSourceConfig.ClockSource = TIM_CLOCKSOURCE_INTERNAL;
  if (HAL_TIM_ConfigClockSource(&htim2, &sClockSourceConfig) != HAL_OK)
  {
    Error_Handler();
  }
  if (HAL_TIM_IC_Init(&htim2) != HAL_OK)
  {
    Error_Handler();
  }
  sSlaveConfig.SlaveMode = TIM_SLAVEMODE_RESET;
  sSlaveConfig.InputTrigger = TIM_TS_TI1FP1;
  sSlaveConfig.TriggerPolarity = TIM_INPUTCHANNELPOLARITY_RISING;
  sSlaveConfig.TriggerPrescaler = TIM_ICPSC_DIV1;
  sSlaveConfig.TriggerFilter = 0;
  if (HAL_TIM_SlaveConfigSynchro(&htim2, &sSlaveConfig) != HAL_OK)
  {
    Error_Handler();
  }
  sConfigIC.ICPolarity = TIM_INPUTCHANNELPOLARITY_RISING;
  sConfigIC.ICSelection = TIM_ICSELECTION_DIRECTTI;
  sConfigIC.ICPrescaler = TIM_ICPSC_DIV1;
  sConfigIC.ICFilter = 0;
  if (HAL_TIM_IC_ConfigChannel(&htim2, &sConfigIC, TIM_CHANNEL_1) != HAL_OK)
  {
    Error_Handler();
  }
  sConfigIC.ICPolarity = TIM_INPUTCHANNELPOLARITY_FALLING;
  sConfigIC.ICSelection = TIM_ICSELECTION_INDIRECTTI;
  if (HAL_TIM_IC_ConfigChannel(&htim2, &sConfigIC, TIM_CHANNEL_2) != HAL_OK)
  {
    Error_Handler();
  }
  sMasterConfig.MasterOutputTrigger = TIM_TRGO_RESET;
  sMasterConfig.MasterSlaveMode = TIM_MASTERSLAVEMODE_DISABLE;
  if (HAL_TIMEx_MasterConfigSynchronization(&htim2, &sMasterConfig) != HAL_OK)
  {
    Error_Handler();
  }

}

static void MX_GPIO_Init(void)
{
  GPIO_InitTypeDef GPIO_InitStruct = {0};

  /* GPIO Ports Clock Enable */
  __HAL_RCC_GPIOE_CLK_ENABLE();
  __HAL_RCC_GPIOC_CLK_ENABLE();
  __HAL_RCC_GPIOH_CLK_ENABLE();
  __HAL_RCC_GPIOA_CLK_ENABLE();
  __HAL_RCC_GPIOB_CLK_ENABLE();
  __HAL_RCC_GPIOD_CLK_ENABLE();

  /*Configure GPIO pin Output Level */
  HAL_GPIO_WritePin(GPIOE, LCD_B2_Pin|LCD_B3_Pin|LCD_B4_Pin|LCD_B5_Pin
                          |LCD_B6_Pin|LCD_RST_Pin|LCD_PCB_Pin|LCD_RS_Pin
                          |HUI_Pin|LCD_B0_Pin|LCD_B1_Pin, GPIO_PIN_RESET);

  /*Configure GPIO pin Output Level */
  HAL_GPIO_WritePin(LCD_B7_GPIO_Port, LCD_B7_Pin, GPIO_PIN_RESET);

  /*Configure GPIO pin Output Level */
  HAL_GPIO_WritePin(GPIOB, CP_ERR_Pin|CP_D_Pin|CP_C_Pin|CP_B_Pin, GPIO_PIN_SET);

  /*Configure GPIO pin Output Level */
  HAL_GPIO_WritePin(GPIOD, PP_13A_Pin|PP_20A_Pin|PP_32A_Pin|PP_70A_Pin
                          |PP_ERR_Pin, GPIO_PIN_SET);

  /*Configure GPIO pin Output Level */
  HAL_GPIO_WritePin(GPIOB, LCD_A0_Pin|LCD_RW_Pin|LCD_E_Pin, GPIO_PIN_RESET);

  /*Configure GPIO pins : LCD_B2_Pin LCD_B3_Pin LCD_B4_Pin LCD_B5_Pin
                           LCD_B6_Pin LCD_RST_Pin LCD_PCB_Pin LCD_RS_Pin
                           LCD_B0_Pin LCD_B1_Pin */
  GPIO_InitStruct.Pin = LCD_B2_Pin|LCD_B3_Pin|LCD_B4_Pin|LCD_B5_Pin
                          |LCD_B6_Pin|LCD_RST_Pin|LCD_PCB_Pin|LCD_RS_Pin
                          |LCD_B0_Pin|LCD_B1_Pin;
  GPIO_InitStruct.Mode = GPIO_MODE_OUTPUT_PP;
  GPIO_InitStruct.Pull = GPIO_PULLDOWN;
  GPIO_InitStruct.Speed = GPIO_SPEED_FREQ_LOW;
  HAL_GPIO_Init(GPIOE, &GPIO_InitStruct);

  /*Configure GPIO pin : LCD_B7_Pin */
  GPIO_InitStruct.Pin = LCD_B7_Pin;
  GPIO_InitStruct.Mode = GPIO_MODE_OUTPUT_PP;
  GPIO_InitStruct.Pull = GPIO_PULLDOWN;
  GPIO_InitStruct.Speed = GPIO_SPEED_FREQ_LOW;
  HAL_GPIO_Init(LCD_B7_GPIO_Port, &GPIO_InitStruct);

  /*Configure GPIO pin : PA2 */
  GPIO_InitStruct.Pin = GPIO_PIN_2;
  GPIO_InitStruct.Mode = GPIO_MODE_IT_FALLING;
  GPIO_InitStruct.Pull = GPIO_NOPULL;
  HAL_GPIO_Init(GPIOA, &GPIO_InitStruct);

  /*Configure GPIO pin : HUI_Pin */
  GPIO_InitStruct.Pin = HUI_Pin;
  GPIO_InitStruct.Mode = GPIO_MODE_OUTPUT_PP;
  GPIO_InitStruct.Pull = GPIO_PULLUP;
  GPIO_InitStruct.Speed = GPIO_SPEED_FREQ_MEDIUM;
  HAL_GPIO_Init(HUI_GPIO_Port, &GPIO_InitStruct);

  /*Configure GPIO pins : CP_ERR_Pin CP_D_Pin CP_C_Pin CP_B_Pin */
  GPIO_InitStruct.Pin = CP_ERR_Pin|CP_D_Pin|CP_C_Pin|CP_B_Pin;
  GPIO_InitStruct.Mode = GPIO_MODE_OUTPUT_PP;
  GPIO_InitStruct.Pull = GPIO_NOPULL;
  GPIO_InitStruct.Speed = GPIO_SPEED_FREQ_HIGH;
  HAL_GPIO_Init(GPIOB, &GPIO_InitStruct);

  /*Configure GPIO pins : PP_13A_Pin PP_20A_Pin PP_32A_Pin PP_70A_Pin
                           PP_ERR_Pin */
  GPIO_InitStruct.Pin = PP_13A_Pin|PP_20A_Pin|PP_32A_Pin|PP_70A_Pin
                          |PP_ERR_Pin;
  GPIO_InitStruct.Mode = GPIO_MODE_OUTPUT_OD;
  GPIO_InitStruct.Pull = GPIO_NOPULL;
  GPIO_InitStruct.Speed = GPIO_SPEED_FREQ_HIGH;
  HAL_GPIO_Init(GPIOD, &GPIO_InitStruct);

  /*Configure GPIO pins : BUT2_EXTI1_Pin BUT1_EXTI3_Pin BUT3_EXTI4_Pin BUT4_EXTI5_Pin
                           BUT6_EXTI6_Pin BUT5_EXTI7_Pin */
  GPIO_InitStruct.Pin = BUT2_EXTI1_Pin|BUT1_EXTI3_Pin|BUT3_EXTI4_Pin|BUT4_EXTI5_Pin
                          |BUT6_EXTI6_Pin|BUT5_EXTI7_Pin;
  GPIO_InitStruct.Mode = GPIO_MODE_IT_FALLING;
  GPIO_InitStruct.Pull = GPIO_PULLUP;
  HAL_GPIO_Init(GPIOD, &GPIO_InitStruct);

  /*Configure GPIO pins : LCD_A0_Pin LCD_RW_Pin LCD_E_Pin */
  GPIO_InitStruct.Pin = LCD_A0_Pin|LCD_RW_Pin|LCD_E_Pin;
  GPIO_InitStruct.Mode = GPIO_MODE_OUTPUT_PP;
  GPIO_InitStruct.Pull = GPIO_PULLDOWN;
  GPIO_InitStruct.Speed = GPIO_SPEED_FREQ_LOW;
  HAL_GPIO_Init(GPIOB, &GPIO_InitStruct);

  /* EXTI interrupt init*/
  HAL_NVIC_SetPriority(EXTI1_IRQn, 0, 0);
  HAL_NVIC_EnableIRQ(EXTI1_IRQn);

  HAL_NVIC_SetPriority(EXTI2_IRQn, 0, 0);
  HAL_NVIC_EnableIRQ(EXTI2_IRQn);

  HAL_NVIC_SetPriority(EXTI3_IRQn, 0, 0);
  HAL_NVIC_EnableIRQ(EXTI3_IRQn);

  HAL_NVIC_SetPriority(EXTI4_IRQn, 0, 0);
  HAL_NVIC_EnableIRQ(EXTI4_IRQn);

  HAL_NVIC_SetPriority(EXTI9_5_IRQn, 0, 0);
  HAL_NVIC_EnableIRQ(EXTI9_5_IRQn);

}

void Error_Handler(void)
{
  __disable_irq();
  while (1)
  {
  }
}
